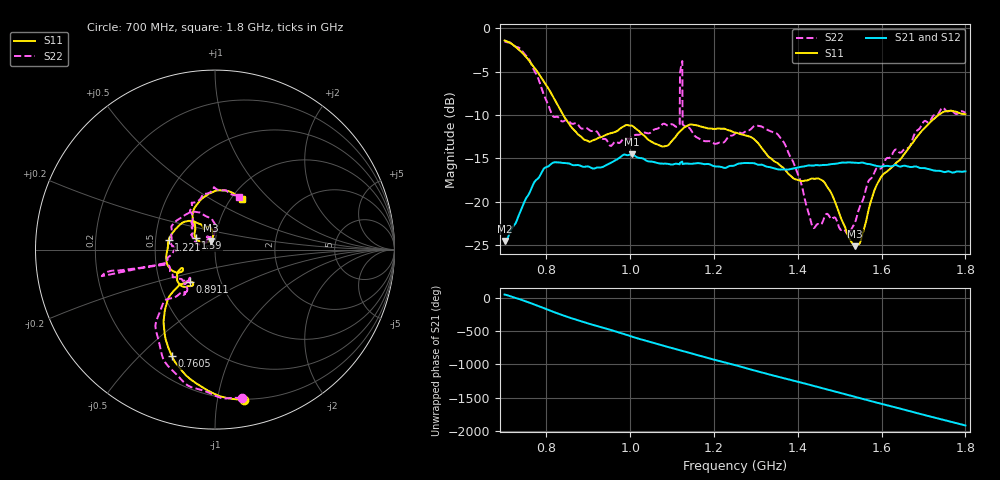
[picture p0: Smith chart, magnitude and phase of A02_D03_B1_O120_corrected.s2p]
! Created with skrf 1.9.0 (http://scikit-rf.org).
# Hz S RI R 50.0
!freq ReS11 ImS11 ReS21 ImS21 ReS12 ImS12 ReS22 ImS22
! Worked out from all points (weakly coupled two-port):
!   1601 points, 700 MHz to 1.8 GHz, reference 50 ohm
!   highest |S21| = -14.54 dB at 1.005 GHz (marker M1); lowest = -24.6 dB at 701.4 MHz (marker M2)
!   lowest |S11| = -25.2 dB at 1.537 GHz (marker M3), VSWR 1.12, Z = 47.3 + j4.68 ohm
!   |S11| at or under -10 dB: 839.5 MHz to 1.736 GHz (896.3 MHz wide, 69.6 % of centre)
!   |S22| runs from -23.8 to -1.5 dB; largest |S21 - S12| = 0.0035
!   S11 on the Smith chart (normalised r, x): 700 MHz: 0.20, -1.19; 760.5 MHz: 0.31, -0.63; 891.1 MHz: 0.71, -0.27; 1.221 GHz: 0.59, +0.07; 1.59 GHz: 0.80, +0.11; 1.8 GHz: 1.13, +0.70
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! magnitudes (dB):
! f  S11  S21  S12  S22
! 700 MHz  -1.4  -24.5  -24.3  -1.5
! 701.4 MHz  -1.4  -24.6  -24.2  -1.5
! 760.5 MHz  -3.9  -18.9  -18.8  -3.8
! 814.8 MHz  -7.8  -15.5  -15.6  -10.1
! 883.6 MHz  -12.6  -15.9  -15.8  -11.6
! 891.1 MHz  -12.9  -16.0  -16.0  -11.5
! 1.005 GHz  -11.3  -14.5  -14.7  -12.5
! 1.067 GHz  -13.5  -15.6  -15.5  -11.5
! 1.113 GHz  -12.2  -15.6  -15.7  -11.3
! 1.123 GHz  -11.7  -15.4  -15.3  -4.0
! 1.13 GHz  -11.4  -15.6  -15.7  -11.3
! 1.221 GHz  -11.6  -16.1  -16.1  -13.2
! 1.25 GHz  -12.0  -15.8  -15.7  -12.2
! 1.355 GHz  -15.7  -16.3  -16.2  -12.4
! 1.434 GHz  -17.3  -15.9  -15.8  -22.8
! 1.472 GHz  -18.4  -15.7  -15.7  -21.5
! 1.519 GHz  -23.8  -15.5  -15.5  -23.8
! 1.537 GHz  -25.2  -15.5  -15.5  -22.4
! 1.59 GHz  -18.0  -15.9  -15.9  -16.1
! 1.617 GHz  -16.4  -15.9  -15.9  -15.0
! 1.738 GHz  -9.9  -16.4  -16.5  -9.7
! 1.8 GHz  -9.9  -16.5  -16.5  -9.8
